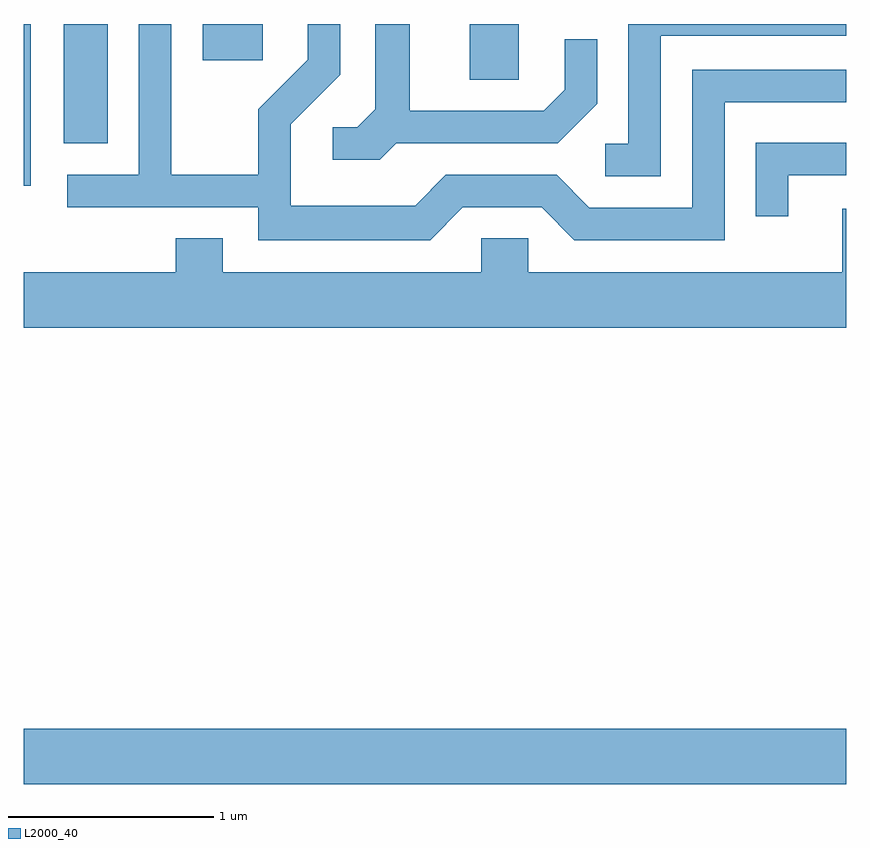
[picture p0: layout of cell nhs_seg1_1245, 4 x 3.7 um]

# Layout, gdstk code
import gdstk
lib = gdstk.Library(unit=1e-6, precision=1e-09)
def R(c, l, rs):  # rectangles x0, y0, x1, y1
    for r in rs: c.add(gdstk.rectangle(r[:2], r[2:], *l))
def P(c, l, *ps):  # polygons
    for p in ps: c.add(gdstk.Polygon(p, *l))
L2000_40 = (2000, 40)

nhs_seg1_1245 = lib.new_cell('nhs_seg1_1245')
R(nhs_seg1_1245, L2000_40, [(223.611,904.016,227.611,904.284), (223.611,906.926,223.644,907.712), (223.806,907.131,224.019,907.712), (225.781,907.441,226.019,907.712), (224.481,907.536,224.774,907.712)])
P(nhs_seg1_1245, L2000_40, [(225.747,906.821),(226.129,906.821),(226.289,906.661),(227.019,906.661),(227.019,907.331),(227.611,907.331),(227.611,907.489),(226.861,907.489),(226.861,906.819),(226.362,906.819),(226.202,906.979),(225.664,906.979),(225.514,906.829),(224.909,906.829),(224.909,907.224),(225.149,907.464),(225.149,907.712),(224.991,907.712),(224.991,907.537),(224.751,907.297),(224.751,906.979),(224.329,906.979),(224.329,907.712),(224.171,907.712),(224.171,906.979),(223.823,906.979),(223.823,906.821),(224.751,906.821),(224.751,906.661),(225.587,906.661)],
  [(226.709,907.656),(227.611,907.656),(227.611,907.712),(226.551,907.712),(226.551,907.129),(226.438,907.129),(226.438,906.971),(226.709,906.971)],
  [(225.422,907.131),(226.207,907.131),(226.399,907.324),(226.399,907.638),(226.241,907.638),(226.241,907.392),(226.139,907.289),(225.489,907.289),(225.489,907.712),(225.321,907.712),(225.321,907.297),(225.234,907.209),(225.113,907.209),(225.113,907.051),(225.342,907.051)],
  [(227.329,906.976),(227.611,906.976),(227.611,907.134),(227.171,907.134),(227.171,906.778),(227.329,906.778)],
  [(227.611,906.814),(227.591,906.814),(227.591,906.504),(226.064,906.504),(226.064,906.669),(225.836,906.669),(225.836,906.504),(224.579,906.504),(224.579,906.669),(224.351,906.669),(224.351,906.504),(223.611,906.504),(223.611,906.236),(227.611,906.236)])

lib.write_gds('nhs_seg1_1245.gds')
